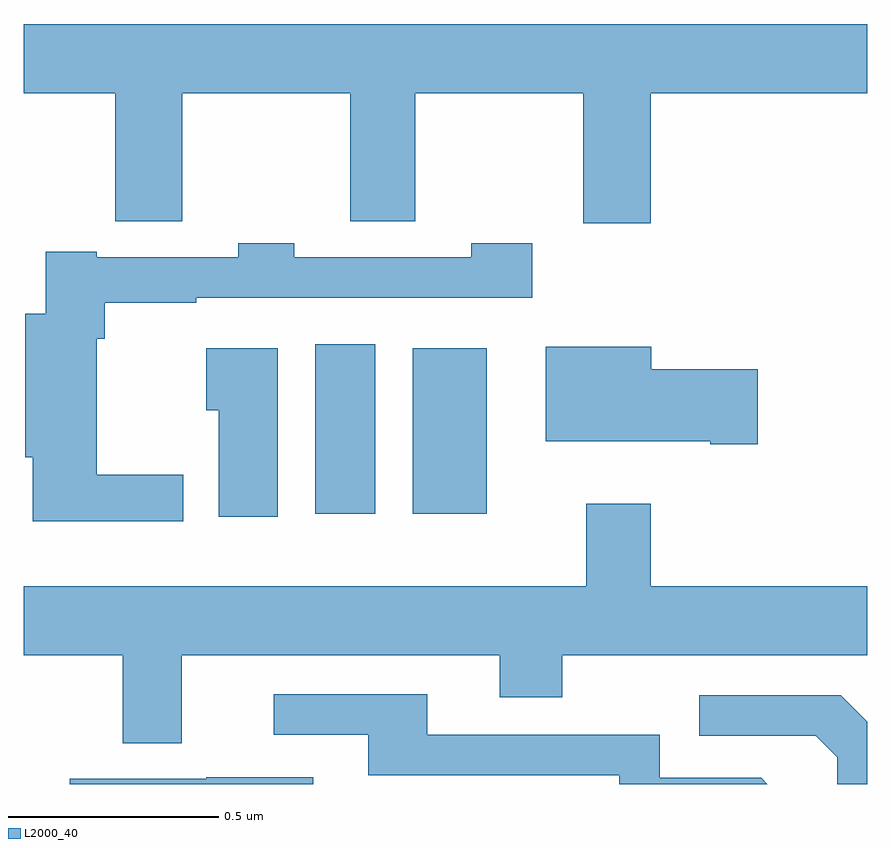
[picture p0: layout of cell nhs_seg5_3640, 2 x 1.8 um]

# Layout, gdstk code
import gdstk
lib = gdstk.Library(unit=1e-6, precision=1e-09)
def R(c, l, rs):  # rectangles x0, y0, x1, y1
    for r in rs: c.add(gdstk.rectangle(r[:2], r[2:], *l))
def P(c, l, *ps):  # polygons
    for p in ps: c.add(gdstk.Polygon(p, *l))
L2000_40 = (2000, 40)

nhs_seg5_3640 = lib.new_cell('nhs_seg5_3640')
R(nhs_seg5_3640, L2000_40, [(160.691,846.44,160.834,846.841), (160.922,846.44,161.098,846.832)])
P(nhs_seg5_3640, L2000_40, [(161.486,847.436),(162,847.436),(162,847.6),(160,847.6),(160,847.436),(160.217,847.436),(160.217,847.132),(160.376,847.132),(160.376,847.436),(160.774,847.436),(160.774,847.132),(160.928,847.132),(160.928,847.436),(161.326,847.436),(161.326,847.128),(161.486,847.128)],
  [(160.378,846.532),(160.174,846.532),(160.174,846.854),(160.192,846.854),(160.192,846.939),(160.409,846.939),(160.409,846.951),(161.206,846.951),(161.206,847.08),(161.061,847.08),(161.061,847.047),(160.641,847.047),(160.641,847.08),(160.509,847.08),(160.509,847.047),(160.174,847.047),(160.174,847.06),(160.053,847.06),(160.053,846.913),(160.004,846.913),(160.004,846.573),(160.022,846.573),(160.022,846.422),(160.378,846.422)],
  [(161.74,846.782),(161.488,846.782),(161.488,846.835),(161.237,846.835),(161.237,846.611),(161.627,846.611),(161.627,846.604),(161.74,846.604)],
  [(160.603,846.832),(160.433,846.832),(160.433,846.685),(160.463,846.685),(160.463,846.432),(160.603,846.432)],
  [(160.375,846.104),(161.129,846.104),(161.129,846.005),(161.277,846.005),(161.277,846.104),(162,846.104),(162,846.268),(161.486,846.268),(161.486,846.463),(161.333,846.463),(161.333,846.268),(160,846.268),(160,846.104),(160.235,846.104),(160.235,845.896),(160.375,845.896)],
  [(161.748,845.814),(161.508,845.814),(161.508,845.916),(160.957,845.916),(160.957,846.012),(160.593,846.012),(160.593,845.916),(160.817,845.916),(160.817,845.82),(161.412,845.82),(161.412,845.799),(161.763,845.799)],
  [(162,845.946),(161.937,846.009),(161.601,846.009),(161.601,845.913),(161.877,845.913),(161.928,845.862),(161.928,845.799),(162,845.799)],
  [(160.687,845.815),(160.433,845.815),(160.433,845.811),(160.109,845.811),(160.109,845.799),(160.687,845.799)])

lib.write_gds('nhs_seg5_3640.gds')
